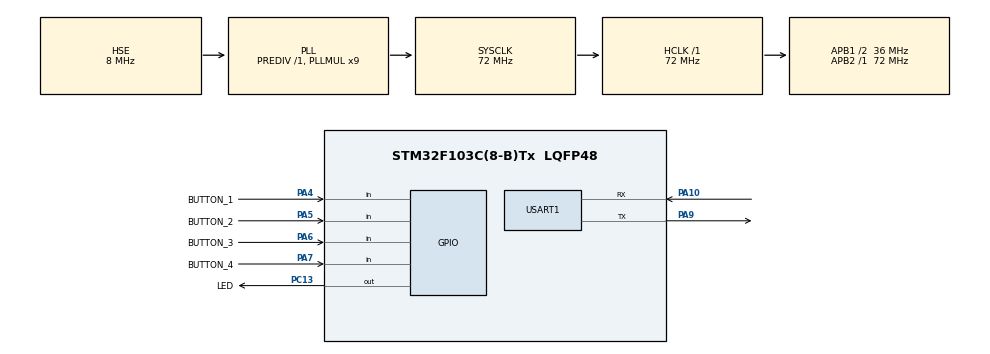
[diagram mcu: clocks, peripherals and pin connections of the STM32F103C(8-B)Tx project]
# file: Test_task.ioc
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Dma.Request0=USART1_RX
Dma.Request1=USART1_TX
Dma.USART1_RX.0.Direction=DMA_PERIPH_TO_MEMORY
Dma.USART1_RX.0.Instance=DMA1_Channel5
Dma.USART1_RX.0.MemDataAlignment=DMA_MDATAALIGN_BYTE
Dma.USART1_RX.0.MemInc=DMA_MINC_ENABLE
Dma.USART1_RX.0.Mode=DMA_NORMAL
Dma.USART1_RX.0.PeriphDataAlignment=DMA_PDATAALIGN_BYTE
Dma.USART1_RX.0.PeriphInc=DMA_PINC_DISABLE
Dma.USART1_RX.0.Priority=DMA_PRIORITY_LOW
Dma.USART1_TX.1.Direction=DMA_MEMORY_TO_PERIPH
Dma.USART1_TX.1.Instance=DMA1_Channel4
Dma.USART1_TX.1.MemDataAlignment=DMA_MDATAALIGN_BYTE
Dma.USART1_TX.1.MemInc=DMA_MINC_ENABLE
Dma.USART1_TX.1.Mode=DMA_NORMAL
Dma.USART1_TX.1.PeriphDataAlignment=DMA_PDATAALIGN_BYTE
Dma.USART1_TX.1.PeriphInc=DMA_PINC_DISABLE
Dma.USART1_TX.1.Priority=DMA_PRIORITY_LOW
Mcu.Family=STM32F1
Mcu.Name=STM32F103C(8-B)Tx
Mcu.Package=LQFP48
NVIC.DMA1_Channel4_IRQn=true\:0\:0\:false\:false\:true\:false\:true\:true
NVIC.DMA1_Channel5_IRQn=true\:0\:0\:false\:false\:true\:false\:true\:true
NVIC.PriorityGroup=NVIC_PRIORITYGROUP_4
NVIC.TIM4_IRQn=true\:0\:0\:false\:false\:true\:true\:true\:true
NVIC.USART1_IRQn=true\:0\:0\:false\:false\:true\:true\:true\:true
PA10.Mode=Asynchronous
PA10.Signal=USART1_RX
PA13.Mode=Serial_Wire
PA13.Signal=SYS_JTMS-SWDIO
PA14.Mode=Serial_Wire
PA14.Signal=SYS_JTCK-SWCLK
PA4.GPIO_Label=BUTTON_1
PA4.GPIO_PuPd=GPIO_PULLUP
PA4.Signal=GPIO_Input
PA5.GPIO_Label=BUTTON_2
PA5.GPIO_PuPd=GPIO_PULLUP
PA5.Signal=GPIO_Input
PA6.GPIO_Label=BUTTON_3
PA6.GPIO_PuPd=GPIO_PULLUP
PA6.Signal=GPIO_Input
PA7.GPIO_Label=BUTTON_4
PA7.GPIO_PuPd=GPIO_PULLUP
PA7.Signal=GPIO_Input
PA9.Mode=Asynchronous
PA9.Signal=USART1_TX
PC13-TAMPER-RTC.GPIO_Label=LED
PC13-TAMPER-RTC.GPIO_PuPd=GPIO_PULLUP
PC13-TAMPER-RTC.Signal=GPIO_Output
PD0-OSC_IN.Mode=HSE-External-Oscillator
PD0-OSC_IN.Signal=RCC_OSC_IN
PD1-OSC_OUT.Mode=HSE-External-Oscillator
PD1-OSC_OUT.Signal=RCC_OSC_OUT
ProjectManager.HeapSize=0x200
ProjectManager.StackSize=0x400
ProjectManager.TargetToolchain=MDK-ARM V5.32
RCC.AHBFreq_Value=72000000
RCC.APB1CLKDivider=RCC_HCLK_DIV2
RCC.APB1Freq_Value=36000000
RCC.APB1TimFreq_Value=72000000
RCC.APB2Freq_Value=72000000
RCC.APB2TimFreq_Value=72000000
RCC.HCLKFreq_Value=72000000
RCC.PLLMUL=RCC_PLL_MUL9
RCC.PLLSourceVirtual=RCC_PLLSOURCE_HSE
RCC.SYSCLKFreq_VALUE=72000000
RCC.SYSCLKSource=RCC_SYSCLKSOURCE_PLLCLK
RCC.USBFreq_Value=72000000
TIM4.Period=4999
TIM4.Prescaler=719
USART1.VirtualMode=VM_ASYNC
VP_TIM4_VS_ClockSourceINT.Mode=Internal
board=custom

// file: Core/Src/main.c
/* USER CODE BEGIN Header */
/**
  ******************************************************************************
  * @file           : main.c
  * @brief          : Main program body
  ******************************************************************************
  * @attention
  *
  * Copyright (c) 2024 STMicroelectronics.
  * All rights reserved.
  *
  * This software is licensed under terms that can be found in the LICENSE file
  * in the root directory of this software component.
  * If no LICENSE file comes with this software, it is provided AS-IS.
  *
  ******************************************************************************
  */
/* USER CODE END Header */
#include "main.h"
#include "dma.h"
#include "tim.h"
#include "usart.h"
#include "gpio.h"

/* USER CODE BEGIN Includes */
#include "Buttons_Update.h"
#include "Commands_Update.h"
/* USER CODE END Includes */

void SystemClock_Config(void);

/* USER CODE BEGIN 0 */
uint16_t Short_Response_Time = 2;
uint16_t Long_Response_Time = 30;

uint8_t Recieve_Number = 0;
/* USER CODE END 0 */

int main(void)
{

  /* MCU Configuration--------------------------------------------------------*/

  /* Reset of all peripherals, Initializes the Flash interface and the Systick. */
  HAL_Init();

  /* USER CODE BEGIN Init */
	Button_Init(&Button_1, &Short_Response_Time, &Long_Response_Time);
	Button_Init(&Button_2, &Short_Response_Time, &Long_Response_Time);
	Button_Init(&Button_3, &Short_Response_Time, &Long_Response_Time);
	Button_Init(&Button_4, &Short_Response_Time, &Long_Response_Time);
  /* USER CODE END Init */

  /* Configure the system clock */
  SystemClock_Config();

  /* Initialize all configured peripherals */
  MX_GPIO_Init();
  MX_DMA_Init();
  MX_TIM4_Init();
  MX_USART1_UART_Init();
  /* USER CODE BEGIN 2 */
	HAL_TIM_Base_Start_IT(&htim4);
	HAL_UART_Receive_DMA(&huart1, &Recieve_Number, 1);
  /* USER CODE END 2 */

  /* Infinite loop */
  while (1)
  {

  }
}

void SystemClock_Config(void)
{
  RCC_OscInitTypeDef RCC_OscInitStruct = {0};
  RCC_ClkInitTypeDef RCC_ClkInitStruct = {0};

  /** Initializes the RCC Oscillators according to the specified parameters
  * in the RCC_OscInitTypeDef structure.
  */
  RCC_OscInitStruct.OscillatorType = RCC_OSCILLATORTYPE_HSE;
  RCC_OscInitStruct.HSEState = RCC_HSE_ON;
  RCC_OscInitStruct.HSEPredivValue = RCC_HSE_PREDIV_DIV1;
  RCC_OscInitStruct.HSIState = RCC_HSI_ON;
  RCC_OscInitStruct.PLL.PLLState = RCC_PLL_ON;
  RCC_OscInitStruct.PLL.PLLSource = RCC_PLLSOURCE_HSE;
  RCC_OscInitStruct.PLL.PLLMUL = RCC_PLL_MUL9;
  if (HAL_RCC_OscConfig(&RCC_OscInitStruct) != HAL_OK)
  {
    Error_Handler();
  }

  /** Initializes the CPU, AHB and APB buses clocks
  */
  RCC_ClkInitStruct.ClockType = RCC_CLOCKTYPE_HCLK|RCC_CLOCKTYPE_SYSCLK
                              |RCC_CLOCKTYPE_PCLK1|RCC_CLOCKTYPE_PCLK2;
  RCC_ClkInitStruct.SYSCLKSource = RCC_SYSCLKSOURCE_PLLCLK;
  RCC_ClkInitStruct.AHBCLKDivider = RCC_SYSCLK_DIV1;
  RCC_ClkInitStruct.APB1CLKDivider = RCC_HCLK_DIV2;
  RCC_ClkInitStruct.APB2CLKDivider = RCC_HCLK_DIV1;

  if (HAL_RCC_ClockConfig(&RCC_ClkInitStruct, FLASH_LATENCY_2) != HAL_OK)
  {
    Error_Handler();
  }
}

/* USER CODE BEGIN 4 */
void HAL_TIM_PeriodElapsedCallback(TIM_HandleTypeDef *htim)
{

	if (htim->Instance == TIM4)
	{

		static E_Commands Command;
		Command = Buttons_Update();
		Commands_Handling(Command);
	}

}

void HAL_UART_RxCpltCallback(UART_HandleTypeDef *huart)
{

	if (huart->Instance == USART1)
	{
		HAL_UART_Receive_DMA(&huart1, &Recieve_Number, 1);
	}

}

/* USER CODE END 4 */

void Error_Handler(void)
{
  __disable_irq();
  while (1)
  {
  }
}
